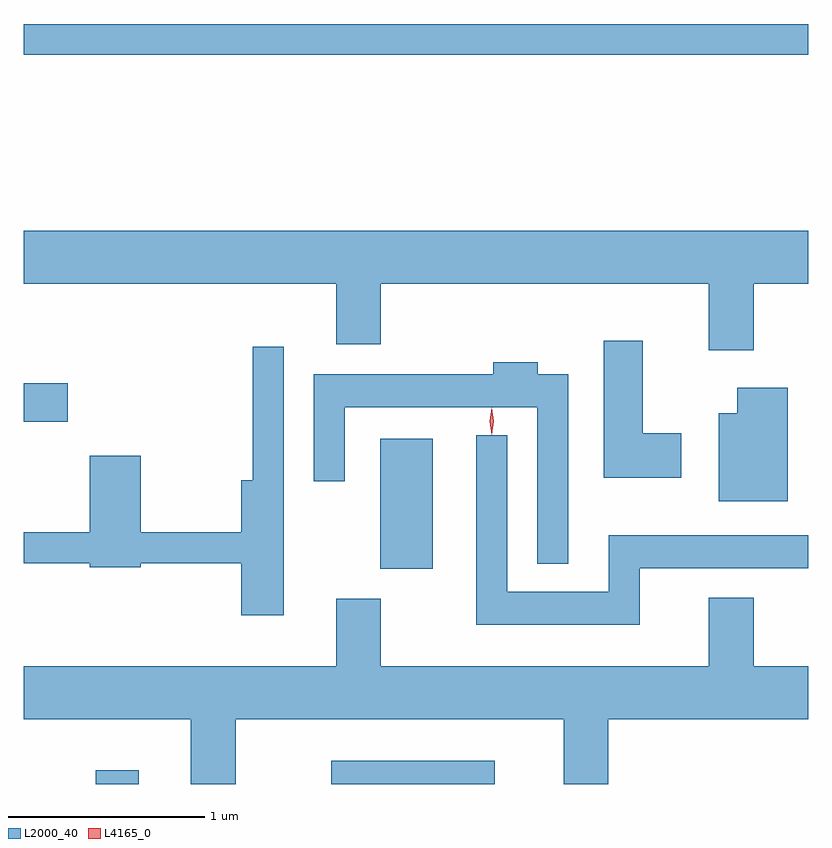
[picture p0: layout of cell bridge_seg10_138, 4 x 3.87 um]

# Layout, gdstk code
import gdstk
lib = gdstk.Library(unit=1e-6, precision=1e-09)
def R(c, l, rs):  # rectangles x0, y0, x1, y1
    for r in rs: c.add(gdstk.rectangle(r[:2], r[2:], *l))
def P(c, l, *ps):  # polygons
    for p in ps: c.add(gdstk.Polygon(p, *l))
L2000_40 = (2000, 40)
L4165_0 = (4165, 0)

bridge_seg10_138 = lib.new_cell('bridge_seg10_138')
R(bridge_seg10_138, L2000_40, [(1656.076,2100.265,1656.294,2100.334), (1657.276,2100.265,1658.109,2100.384), (1657.526,2101.361,1657.794,2102.024), (1655.708,2102.111,1655.934,2102.309), (1655.708,2103.981,1659.708,2104.139)])
P(bridge_seg10_138, L2000_40, [(1659.429,2102.816),(1659.708,2102.816),(1659.708,2103.084),(1655.708,2103.084),(1655.708,2102.816),(1657.301,2102.816),(1657.301,2102.506),(1657.529,2102.506),(1657.529,2102.816),(1659.201,2102.816),(1659.201,2102.476),(1659.429,2102.476)],
  [(1659.059,2102.054),(1658.864,2102.054),(1658.864,2102.524),(1658.666,2102.524),(1658.666,2101.826),(1659.059,2101.826)],
  [(1657.034,2102.493),(1656.876,2102.493),(1656.876,2101.814),(1656.816,2101.814),(1656.816,2101.549),(1656.304,2101.549),(1656.304,2101.939),(1656.046,2101.939),(1656.046,2101.549),(1655.708,2101.549),(1655.708,2101.391),(1656.046,2101.391),(1656.046,2101.371),(1656.304,2101.371),(1656.304,2101.391),(1656.816,2101.391),(1656.816,2101.126),(1657.034,2101.126)],
  [(1658.484,2102.354),(1658.329,2102.354),(1658.329,2102.414),(1658.101,2102.414),(1658.101,2102.354),(1657.186,2102.354),(1657.186,2101.808),(1657.344,2101.808),(1657.344,2102.186),(1658.326,2102.186),(1658.326,2101.388),(1658.484,2101.388)],
  [(1659.604,2102.284),(1659.346,2102.284),(1659.346,2102.154),(1659.251,2102.154),(1659.251,2101.706),(1659.604,2101.706)],
  [(1658.849,2101.366),(1659.708,2101.366),(1659.708,2101.534),(1658.691,2101.534),(1658.691,2101.244),(1658.174,2101.244),(1658.174,2102.043),(1658.016,2102.043),(1658.016,2101.076),(1658.849,2101.076)],
  [(1656.789,2100.596),(1658.461,2100.596),(1658.461,2100.265),(1658.689,2100.265),(1658.689,2100.596),(1659.708,2100.596),(1659.708,2100.864),(1659.429,2100.864),(1659.429,2101.214),(1659.201,2101.214),(1659.201,2100.864),(1657.529,2100.864),(1657.529,2101.209),(1657.301,2101.209),(1657.301,2100.864),(1655.708,2100.864),(1655.708,2100.596),(1656.561,2100.596),(1656.561,2100.265),(1656.789,2100.265)])
P(bridge_seg10_138, L4165_0, [(1658.093,2102.047),(1658.093,2102.048),(1658.083,2102.114),(1658.093,2102.18),(1658.093,2102.18),(1658.094,2102.18),(1658.103,2102.114),(1658.094,2102.048)],
  [(1658.094,2102.044),(1658.085,2102.113),(1658.094,2102.182),(1658.095,2102.183),(1658.095,2102.182),(1658.105,2102.113),(1658.095,2102.044),(1658.095,2102.044)])

lib.write_gds('bridge_seg10_138.gds')
